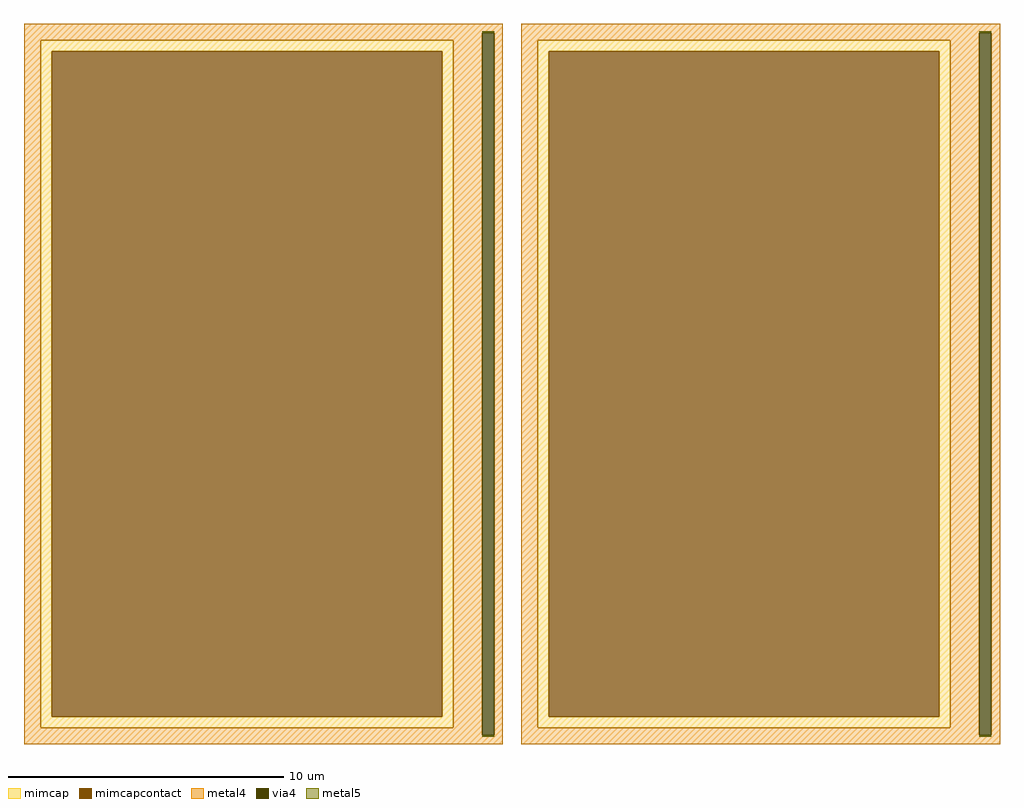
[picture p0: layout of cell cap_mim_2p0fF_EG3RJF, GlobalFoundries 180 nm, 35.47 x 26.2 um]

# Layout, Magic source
magic
tech gf180mcuC
magscale 1 10
<< mimcap >>
rect -3427 2420 -427 2500
rect -3427 -2420 -3347 2420
rect -507 -2420 -427 2420
rect -3427 -2500 -427 -2420
rect 187 2420 3187 2500
rect 187 -2420 267 2420
rect 3107 -2420 3187 2420
rect 187 -2500 3187 -2420
<< mimcapcontact >>
rect -3347 -2420 -507 2420
rect 267 -2420 3107 2420
<< metal4 >>
rect -3547 2553 -67 2620
rect -3547 2500 -217 2553
rect -3547 -2500 -3427 2500
rect -427 -2500 -217 2500
rect -3547 -2553 -217 -2500
rect -129 -2553 -67 2553
rect -3547 -2620 -67 -2553
rect 67 2553 3547 2620
rect 67 2500 3397 2553
rect 67 -2500 187 2500
rect 3187 -2500 3397 2500
rect 67 -2553 3397 -2500
rect 3485 -2553 3547 2553
rect 67 -2620 3547 -2553
<< via4 >>
rect -217 -2553 -129 2553
rect 3397 -2553 3485 2553
<< metal5 >>
rect -217 2553 -129 2563
rect 3397 2553 3485 2563
rect -217 -2563 -129 -2553
rect 3397 -2563 3485 -2553
<< properties >>
string FIXED_BBOX 67 -2620 3307 2620
string gencell cap_mim_2p0fF
string library gf180mcu
string parameters w 15.00 l 25.00 val 10.975k carea 25.00 cperi 20.00 nx 2 ny 1 dummy 0 square 0 lmin 5.00 wmin 5.00 lmax 100.0 wmax 100.0 dc 0 bconnect 1 tconnect 1
<< end >>
